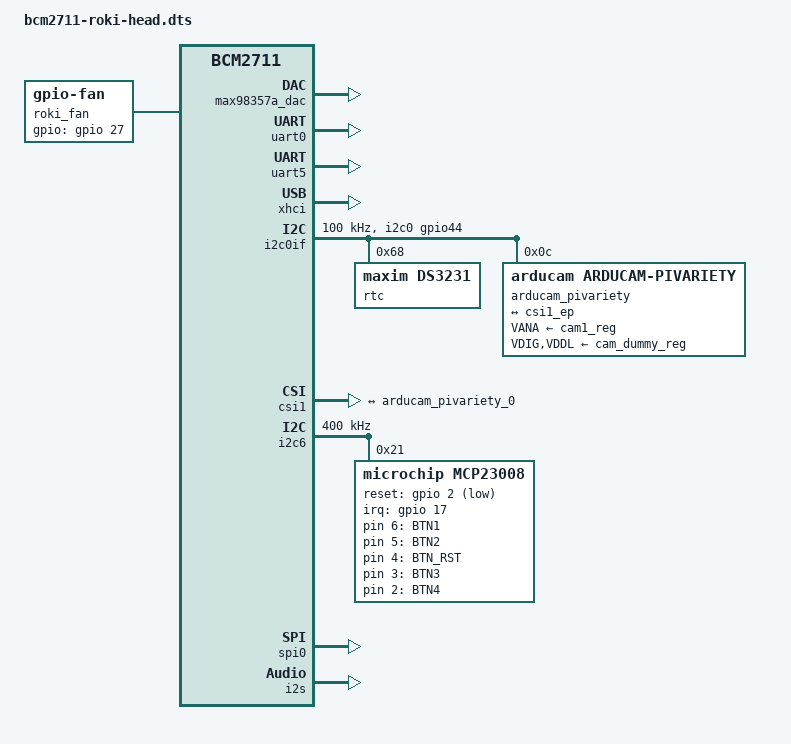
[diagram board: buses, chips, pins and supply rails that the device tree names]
// SPDX-License-Identifier: GPL-2.0-only
/* Голова робота Roki-2, основанная на RPi CM4. */

#include "arm/broadcom/bcm2711-rpi-cm4.dts"
#include <dt-bindings/media/video-interfaces.h>


&{/} {
	model = "Roki-2 robot head v3.1 (CM4)";
	compatible = "roki,roki-2-head-v3.1", "roki,roki-2-head", "raspberrypi,4-compute-module", "brcm,bcm2711";
};

&chosen {
	/delete-property/ stdout-path;
};

/*
 * CMA выделяется конфигурацией ядра. Не оставляем linux,cma-default в DT:
 * VideoCore превращает такой узел в лишний параметр "cma=" командной строки.
 */
&rmem {
	/delete-node/ linux,cma;
};

/* GPIO14/15 PL011 is the only serial console exposed by this board. */
&{/aliases} {
	serial0 = &uart0;
	/delete-property/ serial1;
	/* I2C0 is wired directly to GPIO44/45 on this fixed board. */
	i2c0 = &i2c0if;
	/delete-property/ i2c10;
};

/* GPIO BCM2711 и мультиплексирование выводов. */
&gpio {
	/* Имена служат только описанием: они не экспортируют, не резервируют и не мультиплексируют GPIO. */
	gpio-line-names =
		"board-uart2-tx", "board-uart2-rx", "board-mcp23008-reset", "unused-gpio3",
		"board-max98357a-sdmode", "unused-gpio5", "userspace-motherboard-reset", "board-lcd-cs",
		"unused-gpio8", "userspace-bluecoin-reset", "board-lcd-mosi", "board-lcd-sclk",
		"board-uart5-tx", "board-uart5-rx",
		"board-bluecoin-uart0-tx", "board-bluecoin-uart0-rx",
		"unused-gpio16", "board-mcp23008-irq", "board-i2s-bclk", "board-i2s-lrclk",
		"board-i2s-din", "board-i2s-dout", "board-i2c6-sda", "board-i2c6-scl",
		"userspace-lcd-backlight", "userspace-lcd-dc", "userspace-lcd-reset", "board-fan-enable",
		"cm4-internal-rgmii-mdio", "cm4-internal-rgmii-mdc", "cm4-internal-bt-cts", "cm4-internal-bt-rts",
		"cm4-internal-bt-tx", "cm4-internal-bt-rx",
		"cm4-internal-wifi-sdio-clk", "cm4-internal-wifi-sdio-cmd", "cm4-internal-wifi-sdio-data0", "cm4-internal-wifi-sdio-data1",
		"cm4-internal-wifi-sdio-data2", "cm4-internal-wifi-sdio-data3",
		"cm4-internal-pwm0-or-spi-miso", "cm4-internal-pwm1-or-spi-mosi", "cm4-internal-status-led-gclk", "cm4-internal-boot-spi-cs",
		"board-i2c0-sda", "board-i2c0-scl",
		"cm4-internal-rgmii-rxclk", "cm4-internal-rgmii-rxctl", "cm4-internal-rgmii-rxd0", "cm4-internal-rgmii-rxd1",
		"cm4-internal-rgmii-rxd2", "cm4-internal-rgmii-rxd3", "cm4-internal-rgmii-txclk", "cm4-internal-rgmii-txctl",
		"cm4-internal-rgmii-txd0", "cm4-internal-rgmii-txd1", "cm4-internal-rgmii-txd2", "cm4-internal-rgmii-txd3";

	roki_uart0_pins: roki-uart0-pins {
		brcm,pins = <14 15>;
		brcm,function = <BCM2835_FSEL_ALT0>;
		brcm,pull = <0 2>;
	};

	roki_i2s_pins: roki-i2s-pins {
		brcm,pins = <18 19 20 21>;
		brcm,function = <BCM2835_FSEL_ALT0>;
		brcm,pull = <0 0 0 0>;
	};
};

/* Отключённые блоки BCM2711 и разъёмы, отсутствующие на этой фиксированной плате. */

/* RPi.GPIO использует это прямое отображение регистров; образ использует libgpiod. */
&{/soc/gpiomem} {
	status = "disabled";
};

/* Путь антенны Wi-Fi CM4, управляемый прошивкой. */
&ant1 {
	/delete-property/ output-high;
	output-low;
};

&ant2 {
	/delete-property/ output-low;
	output-high;
};

/* Wi-Fi is part of the CM4, so use its upstream board calibration name. */
&{/soc/mmcnr@7e300000/wifi@1} {
	brcm,board-type = "raspberrypi,4-compute-module";
};

&uart1 {
	status = "disabled";
};

&bt {
	status = "disabled";
};

/* AUX обслуживает только неиспользуемые mini-UART и SPI1/SPI2. */
&aux {
	status = "disabled";
};

/* Это dwc2 usb контроллер, предназначен для работы в режиме device, нам не нужен */
&usb {
	status = "disabled";
};

/* Декодер видео, csi0 порт камеры, фреймбуффер прошивки не нужны. */
&hevc_dec {
	status = "disabled";
};

&csi0 {
	status = "disabled";
};

&fb {
	status = "disabled";
};

/* HVS - композитор дисплея VC4; у головы нет DRM-конвейера вывода. */
&hvs {
	status = "disabled";
};

/* На плате нет GPIO LED, а LED subsystem в ядре отключена. */
&leds {
	status = "disabled";
};

/* OTP/NVMEM не используется: MAC-адрес Ethernet приходит от firmware. */
&nvmem_otp {
	status = "disabled";
};

&nvmem_cust {
	status = "disabled";
};

&nvmem_priv {
	status = "disabled";
};

/* UART0 на GPIO_14(TX) GPIO_15(RX) для BlueCoin. */
&uart0 {
	pinctrl-names = "default";
	pinctrl-0 = <&roki_uart0_pins>;
	dmas = <&dma 12>, <&dma 14>;
	dma-names = "tx", "rx";
	status = "okay";
};

/* UART2 на GPIO_0(TX) GPIO_1(RX) для stm32h743vit, физически есть, но не используется прошивкой stm. */
&uart2 {
	pinctrl-names = "default";
	pinctrl-0 = <&uart2_pins>;
	dmas = <&dma 28>, <&dma 29>;
	dma-names = "tx", "rx";
	status = "disabled";
};

/* UART5 на GPIO_12(TX) GPIO_13(RX) для stm32h743vit (называют mothreboard). */
&uart5 {
	pinctrl-names = "default";
	pinctrl-0 = <&uart5_pins>;
	dmas = <&dma 21>, <&dma 22>;
	dma-names = "tx", "rx";
	status = "okay";
};

/* USB контроллер rpi cm4 в режиме хоста. */
&xhci {
	compatible = "brcm,bcm2711-xhci";
	status = "okay";
};

/* I2C0 на GPIO44/45: RTC и камера Arducam Pivariety на CAM1/CSI1. */
/*
 * На этой плате единственная шина I2C0 выведена на GPIO44/45. Общий DTS CM4
 * описывает альтернативные маршруты выводов через i2c-mux-pinctrl; для этой
 * фиксированной платы он не нужен. Узел оставлен отключенным, поскольку
 * firmware __overrides__ из базового CM4 DTS ссылаются на его label.
 */
&i2c0mux {
	status = "disabled";
};

&i2c0if {
	pinctrl-names = "default";
	pinctrl-0 = <&i2c0_gpio44>;
	clock-frequency = <100000>;
	status = "okay";

	#address-cells = <1>;
	#size-cells = <0>;

	rtc@68 {
		compatible = "maxim,ds3231";
		reg = <0x68>;
	};

	arducam_pivariety: camera@c {
		compatible = "arducam,arducam-pivariety";
		reg = <0x0c>;

		clocks = <&cam1_clk>;
		clock-names = "xclk";

		VANA-supply = <&cam1_reg>;
		VDIG-supply = <&cam_dummy_reg>;
		VDDL-supply = <&cam_dummy_reg>;

		rotation = <0>;
		orientation = <2>;

		port {
		arducam_pivariety_0: endpoint {
			remote-endpoint = <&csi1_ep>;
			bus-type = <MEDIA_BUS_TYPE_CSI2_DPHY>;
			clock-lanes = <0>;
				data-lanes = <1 2>;
				clock-noncontinuous;
				link-frequencies = /bits/ 64 <493500000>;
			};
		};
	};
};

&cam1_clk {
	clock-frequency = <24000000>;
	status = "okay";
};

&csi1 {
	/* Linux 6.18 использует upstream Unicam, а не старый downstream-драйвер. */
	compatible = "brcm,bcm2835-unicam-upstream";
	status = "okay";

	port {
		csi1_ep: endpoint {
			remote-endpoint = <&arducam_pivariety_0>;
			bus-type = <MEDIA_BUS_TYPE_CSI2_DPHY>;
			clock-lanes = <0>;
			data-lanes = <1 2>;
			clock-noncontinuous;
		};
	};
};

/* I2C6 на GPIO22/23: расширитель кнопок MCP23008 и его input-устройство. */
&i2c6_pins {
	brcm,pins = <22 23>;
};

&i2c6 {
	clock-frequency = <400000>;
	status = "okay";

	mcp23008: gpio@21 {
		compatible = "microchip,mcp23008";
		reg = <0x21>;
		gpio-controller;
		#gpio-cells = <2>;
		reset-gpios = <&gpio 2 1>;
		microchip,irq-active-high;
		interrupt-controller;
		#interrupt-cells = <2>;
		interrupt-parent = <&gpio>;
		interrupts = <17 4>;
	};
};

/* GPIO MCP23008 представлены одним именованным input-устройством. */
&{/} {
	roki_head_buttons: gpio-keys {
		compatible = "gpio-keys";
		label = "roki-head-buttons";

		btn1 {
			label = "BTN1";
			linux,code = <0xb7>;
			gpios = <&mcp23008 6 0>;
		debounce-interval = <20>;
		};

		btn2 {
			label = "BTN2";
			linux,code = <0xb8>;
			gpios = <&mcp23008 5 0>;
		debounce-interval = <20>;
		};

		btn_rst {
			label = "BTN_RST";
			linux,code = <0x74>;
			gpios = <&mcp23008 4 0>;
		debounce-interval = <20>;
		};

		btn3 {
			label = "BTN3";
			linux,code = <0xb9>;
			gpios = <&mcp23008 3 0>;
		debounce-interval = <20>;
		};

		btn4 {
			label = "BTN4";
			linux,code = <0xba>;
			gpios = <&mcp23008 2 0>;
		debounce-interval = <20>;
		};
	};
};

/* SPI0: информационный дисплей ST7789 только на запись, один CS на GPIO7. */
&spi0_pins {
	/* ST7789 работает только на запись; GPIO9 остаётся сбросом BlueCoin. */
	brcm,pins = <10 11>;
};

&spi0_cs_pins {
	brcm,pins = <7>;
};

&spi0 {
	cs-gpios = <&gpio 7 1>;
	status = "okay";
};

/delete-node/ &spidev1;

/* Звук I2S: контроллер PCM BCM2711 и пара усилителей MAX98357A. */
&i2s {
	pinctrl-names = "default";
	pinctrl-0 = <&roki_i2s_pins>;
	status = "okay";
};

&sound {
	compatible = "simple-audio-card";
	simple-audio-card,format = "i2s";
	simple-audio-card,name = "MAX98357A";
	status = "okay";

	simple-audio-card,cpu {
		sound-dai = <&i2s>;
	};

	simple-audio-card,codec {
		sound-dai = <&max98357a_dac>;
	};
};

/* I2S-кодек, используемый simple-audio-card выше. */
&{/} {
	max98357a_dac: max98357a {
		/* Левый и правый MAX98357A используют общие I2S и SD_MODE. */
		compatible = "maxim,max98357a";
		#sound-dai-cells = <0>;
		sdmode-gpios = <&gpio 4 0>;
		/* Ожидание BCLK/LRCLK I2S перед включением усилителей. */
		sdmode-delay = <5>;
	};
};

/* Тепловое управление вентилятором платы. */
&cpu_thermal {
	polling-delay = <500>;

	trips {
		roki_cpu_hot: cpu-hot {
			temperature = <60000>;
			hysteresis = <10000>;
			type = "active";
		};
	};

	cooling-maps {
		roki_fan_map {
			trip = <&roki_cpu_hot>;
			cooling-device = <&roki_fan 1 1>;
		};
	};
};

/* Устройство охлаждения для тепловой зоны CPU выше. */
&{/} {
	roki_fan: fan {
		compatible = "gpio-fan";
		gpios = <&gpio 27 0>;
		gpio-fan,speed-map = <0 0>, <5000 1>;
		#cooling-cells = <2>;
	};
};
